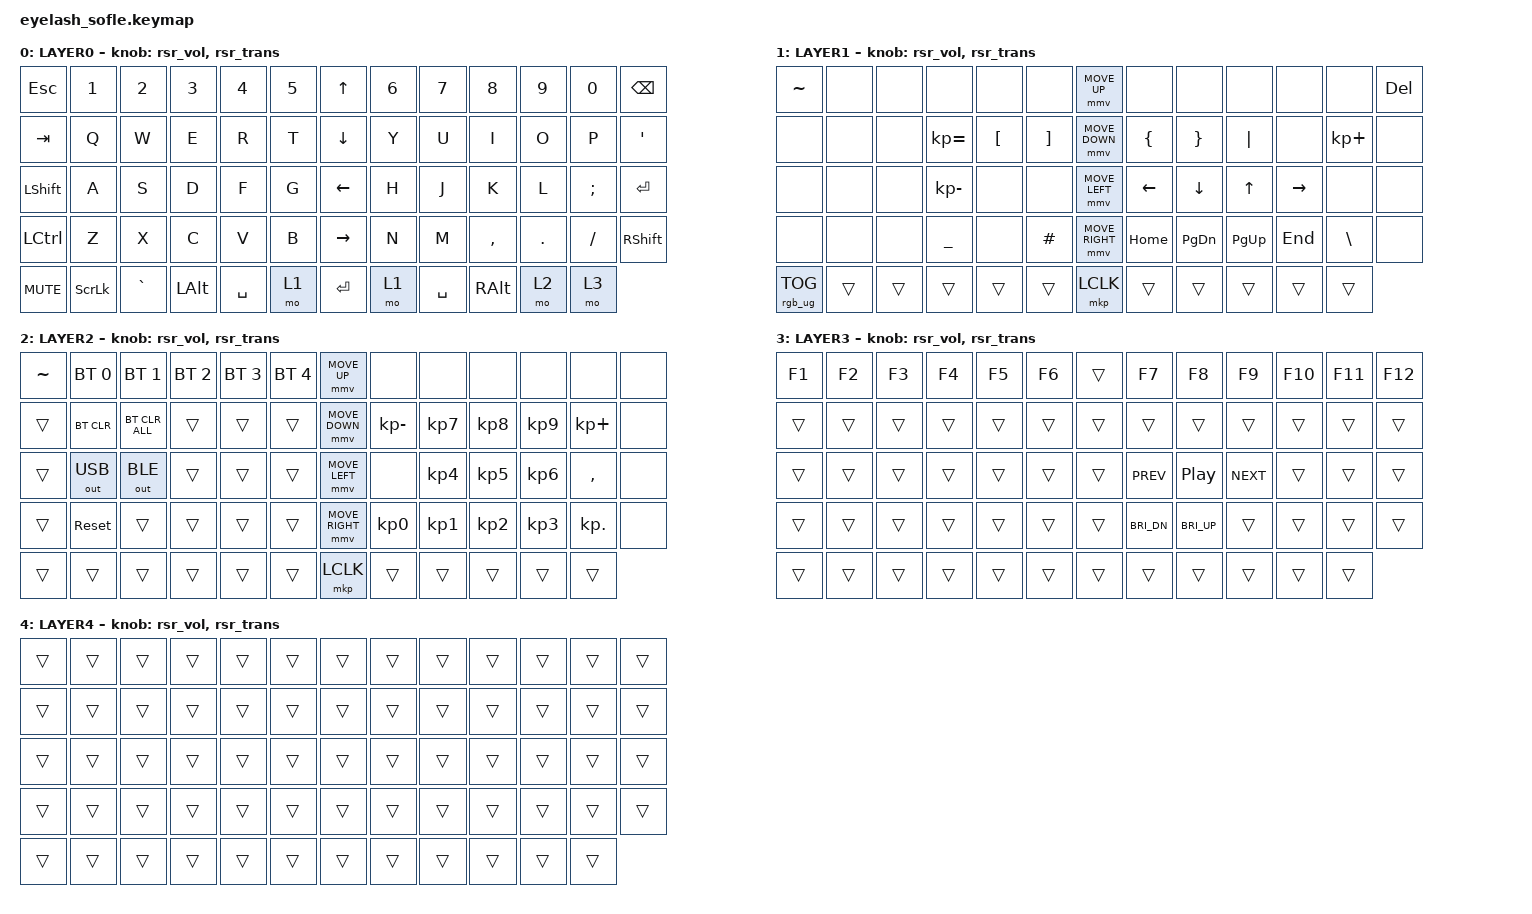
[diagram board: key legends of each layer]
#define ZMK_POINTING_DEFAULT_MOVE_VAL 1200  // 600
#define ZMK_POINTING_DEFAULT_SCRL_VAL 25   // 10

#include <input/processors.dtsi>
#include <zephyr/dt-bindings/input/input-event-codes.h>
#include <behaviors.dtsi>
#include <behaviors/runtime-sensor-rotate.dtsi>
#include <dt-bindings/zmk/bt.h>
#include <dt-bindings/zmk/keys.h>
#include <dt-bindings/zmk/outputs.h>
#include <dt-bindings/zmk/pointing.h>
#include <dt-bindings/zmk/rgb.h>

&mmv_input_listener { input-processors = <&zip_xy_scaler 2 1>; };

&msc_input_listener { input-processors = <&zip_scroll_scaler 2 1>; };

&msc {
    acceleration-exponent = <1>;      // 0
    time-to-max-speed-ms = <100>;       // 300
    delay-ms = <0>;                   // 0
};

&mmv {
    time-to-max-speed-ms = <500>;
    acceleration-exponent = <1>;
    trigger-period-ms = <16>;
};

&soft_off { hold-time-ms = <2000>; };

/ {
    scroll_encoder: scroll_encoder {
        compatible = "zmk,behavior-sensor-rotate";
        #sensor-binding-cells = <0>;
        bindings = <&msc SCRL_DOWN>, <&msc SCRL_UP>;

        tap-ms = <100>;
    };

    behaviors {
        rsr_vol: rsr_vol {
            compatible = "zmk,behavior-runtime-sensor-rotate";
            #sensor-binding-cells = <0>;
            tap-ms = <5>;
            cw-binding = <&kp C_VOL_UP>;
            ccw-binding = <&kp C_VOL_DN>;
        };

        rsr_trans: rsr_trans {
            compatible = "zmk,behavior-runtime-sensor-rotate";
            #sensor-binding-cells = <0>;
            tap-ms = <0>;
        };
    };

    combos {
        compatible = "zmk,combos";

        softoff {
            bindings = <&soft_off>;
            key-positions = <14 28 40>;
        };
    };

    macros {
        SHIFT_MCLK: SHIFT_MCLK {
            compatible = "zmk,behavior-macro";
            #binding-cells = <0>;
            bindings =
                <&macro_press>,
                <&kp LEFT_SHIFT>,
                <&macro_press>,
                <&mkp MB3>,
                <&macro_pause_for_release>,
                <&macro_release>,
                <&kp LEFT_SHIFT &mkp MB3>;

            label = "SHIFT_MCLK";
        };
    };

    keymap {
        compatible = "zmk,keymap";

        layer0 {
            bindings = <
&kp ESC     &kp N1     &kp N2     &kp N3     &kp N4     &kp N5       &kp UP_ARROW     &kp N6     &kp N7     &kp N8     &kp N9   &kp N0    &kp BACKSPACE
&kp TAB     &kp Q      &kp W      &kp E      &kp R      &kp T        &kp DOWN_ARROW   &kp Y      &kp U      &kp I      &kp O    &kp P     &kp APOS
&kp LSHFT   &kp A      &kp S      &kp D      &kp F      &kp G        &kp LEFT_ARROW   &kp H      &kp J      &kp K      &kp L    &kp SEMI  &kp ENTER
&kp LCTRL   &kp Z      &kp X      &kp C      &kp V      &kp B        &kp RIGHT_ARROW  &kp N      &kp M      &kp COMMA  &kp DOT  &kp FSLH  &kp RSHFT
&kp C_MUTE  &kp SLCK   &kp GRAVE  &kp LALT   &kp SPACE  &mo 1        &kp ENTER        &mo 1      &kp SPACE  &kp RALT   &mo 2    &mo 3
            >;

            sensor-bindings = <&rsr_vol &rsr_trans>;
            display-name = "LAYER0";
        };

        layer_1 {
            bindings = <
&kp TILDE        &none   &none   &none         &none     &none        &mmv MOVE_UP     &none     &none      &none      &none   &none        &kp DELETE
&none            &none   &none   &kp KP_EQUAL  &kp LBKT  &kp RBKT     &mmv MOVE_DOWN   &kp LBRC  &kp RBRC   &kp PIPE   &none   &kp KP_PLUS  &none
&none            &none   &none   &kp KP_MINUS  &none     &none        &mmv MOVE_LEFT   &kp LEFT  &kp DOWN   &kp UP     &kp RIGHT  &none     &none
&none            &none   &none   &kp UNDER     &none     &kp HASH     &mmv MOVE_RIGHT  &kp HOME  &kp PG_DN  &kp PG_UP  &kp END &kp BSLH     &none
&rgb_ug RGB_TOG  &trans  &trans  &trans        &trans    &trans       &mkp LCLK        &trans    &trans     &trans     &trans  &trans
            >;

            sensor-bindings = <&rsr_vol &rsr_trans>;
            display-name = "LAYER1";
        };

        layer_2 {
            bindings = <
&kp TILDE  &bt BT_SEL 0  &bt BT_SEL 1    &bt BT_SEL 2  &bt BT_SEL 3  &bt BT_SEL 4    &mmv MOVE_UP     &none         &none       &none       &none       &none       &none
&trans     &bt BT_CLR    &bt BT_CLR_ALL  &trans        &trans        &trans          &mmv MOVE_DOWN   &kp KP_MINUS  &kp KP_N7   &kp KP_N8   &kp KP_N9   &kp KP_PLUS &none
&trans     &out OUT_USB  &out OUT_BLE    &trans        &trans        &trans          &mmv MOVE_LEFT   &none         &kp KP_N4   &kp KP_N5   &kp KP_N6   &kp COMMA   &none
&trans     &sys_reset    &trans          &trans        &trans        &trans          &mmv MOVE_RIGHT  &kp KP_N0     &kp KP_N1   &kp KP_N2   &kp KP_N3   &kp KP_DOT  &none
&trans     &trans        &trans          &trans        &trans        &trans          &mkp LCLK        &trans        &trans      &trans      &trans      &trans
            >;

            display-name = "LAYER2";
            sensor-bindings = <&rsr_vol &rsr_trans>;
        };

        layer_3 {
            bindings = <
&kp F1    &kp F2  &kp F3  &kp F4  &kp F5  &kp F6    &trans    &kp F7        &kp F8        &kp F9      &kp F10  &kp F11  &kp F12
&trans    &trans  &trans  &trans  &trans  &trans    &trans    &trans        &trans        &trans      &trans   &trans   &trans
&trans    &trans  &trans  &trans  &trans  &trans    &trans    &kp C_PREV    &kp C_PP      &kp C_NEXT  &trans   &trans   &trans
&trans    &trans  &trans  &trans  &trans  &trans    &trans    &kp C_BRI_DN  &kp C_BRI_UP  &trans      &trans   &trans   &trans
&trans    &trans  &trans  &trans  &trans  &trans    &trans    &trans        &trans        &trans      &trans   &trans
            >;

            display-name = "LAYER3";
            sensor-bindings = <&rsr_vol &rsr_trans>;
        };

        layer_4 {
            bindings = <
&trans  &trans  &trans  &trans  &trans  &trans    &trans  &trans  &trans  &trans  &trans  &trans  &trans
&trans  &trans  &trans  &trans  &trans  &trans    &trans  &trans  &trans  &trans  &trans  &trans  &trans
&trans  &trans  &trans  &trans  &trans  &trans    &trans  &trans  &trans  &trans  &trans  &trans  &trans
&trans  &trans  &trans  &trans  &trans  &trans    &trans  &trans  &trans  &trans  &trans  &trans  &trans
&trans  &trans  &trans  &trans  &trans  &trans    &trans  &trans  &trans  &trans  &trans  &trans
            >;

            display-name = "LAYER4";
            sensor-bindings = <&rsr_vol &rsr_trans>;
        };
    };
};
